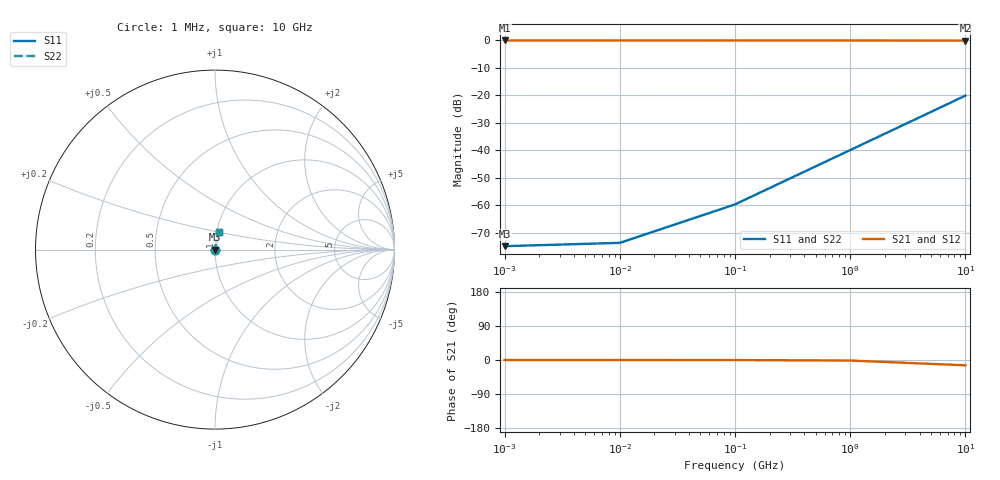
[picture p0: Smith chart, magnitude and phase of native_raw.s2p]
! Sonnet Data File
! From: em Version : 18.53-Lite
! From Project: project
! Data is NOT De-embedded
! Data File Written: 10/07/2026 06:25:48
!< HDATE 10/07/2026 06:25:48
!< MDATE 10/07/2026 06:25:48
# GHZ S RI R 50.00000
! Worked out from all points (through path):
!   5 points, 1 MHz to 10 GHz, reference 50 ohm
!   highest |S21| = 0.00 dB at 1 MHz (marker M1); lowest = 0.0 dB at 10 GHz (marker M2)
!   lowest |S11| = -75.0 dB at 1 MHz (marker M3), VSWR 1.00, Z = 50 + j0.00103 ohm
!   |S11| at or under -10 dB: start of sweep to end of sweep
!   |S22| runs from -75.0 to -20.1 dB; largest |S21 - S12| = 6.1e-13
0.001  0.000179 1.03e-05  0.9998 -2.48e-05  0.9998 -2.48e-05  0.000179 1.03e-05
0.01  0.000179 0.000102  0.9998 -0.000247  0.9998 -0.000247  0.000179 0.000102
0.1  0.000183 0.00102  0.9998 -0.00247  0.9998 -0.00247  0.000183 0.00102
1  0.000479 0.0101  0.9994 -0.0246  0.9994 -0.0246  0.000478 0.0101
10  0.0244 0.0958  0.965 -0.2409  0.965 -0.2409  0.0243 0.0958
